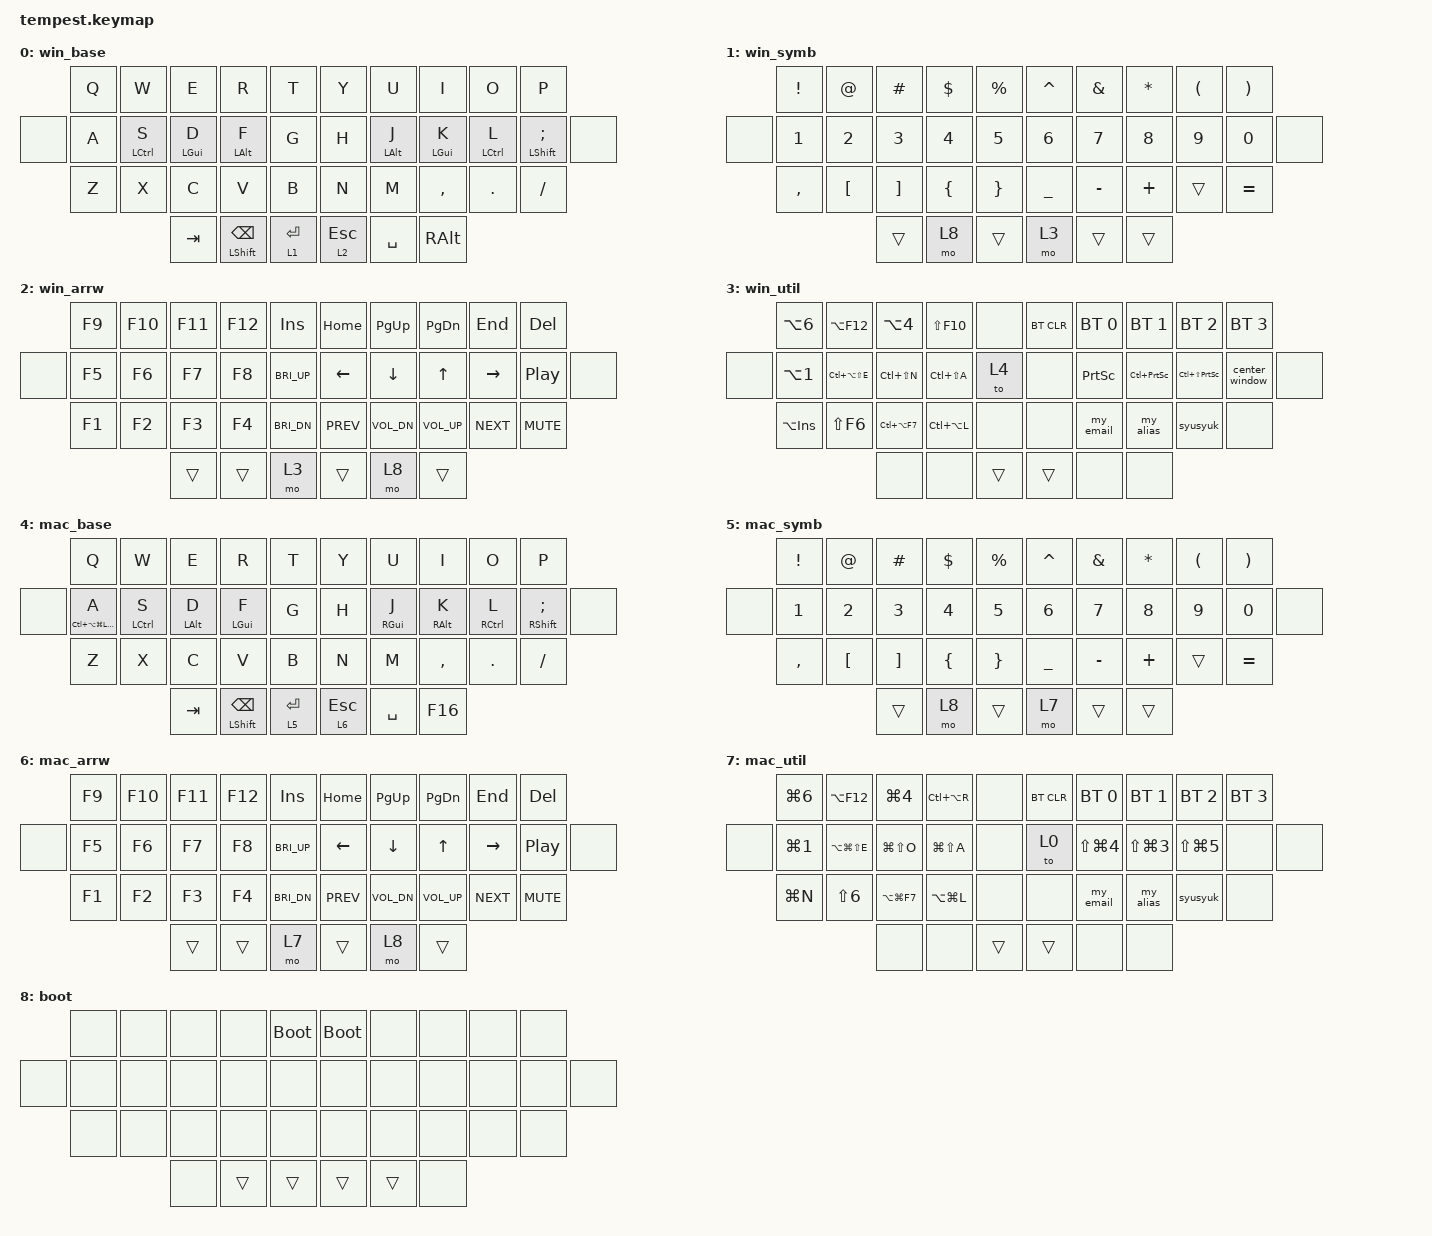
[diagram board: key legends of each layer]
/*
 * Copyright (c) 2020 The ZMK Contributors
 *
 * SPDX-License-Identifier: MIT
 */

#include <behaviors.dtsi>
#include <dt-bindings/zmk/bt.h>
#include <dt-bindings/zmk/keys.h>

&lt {
    tapping-term-ms = <170>;
    quick-tap-ms = <170>;
    flavor = "hold-preferred";
};

&mt {
    tapping-term-ms = <180>;
    quick-tap-ms = <170>;
};

//     0  1  2  3  4    5  6  7  8  9
// 10 11 12 13 14 15   16 17 18 19 20 21 21
//    22 23 24 25 26   27 28 29 30 31 32
//          33 34 35   36 37 38

/ {
    combos {
        compatible = "zmk,combos";

        mac_cut {
            bindings = <&kp LG(X)>;
            key-positions = <23 25>;
            require-prior-idle-ms = <150>;
            layers = <4>;
        };

        mac_copy {
            bindings = <&kp LG(C)>;
            key-positions = <23 24>;
            require-prior-idle-ms = <150>;
            layers = <4>;
        };

        mac_paste {
            bindings = <&kp LG(V)>;
            key-positions = <24 25>;
            require-prior-idle-ms = <150>;
            layers = <4>;
        };

        mac_undo {
            bindings = <&kp LG(Z)>;
            key-positions = <22 23>;
            require-prior-idle-ms = <150>;
            layers = <4>;
        };

        win_cut {
            bindings = <&kp LC(X)>;
            key-positions = <23 25>;
            require-prior-idle-ms = <150>;
            layers = <0>;
        };

        win_copy {
            bindings = <&kp LC(C)>;
            key-positions = <23 24>;
            require-prior-idle-ms = <150>;
            layers = <0>;
        };

        win_paste {
            bindings = <&kp LC(V)>;
            key-positions = <24 25>;
            require-prior-idle-ms = <150>;
            layers = <0>;
        };

        win_undo {
            bindings = <&kp LC(Z)>;
            key-positions = <22 23>;
            require-prior-idle-ms = <150>;
            layers = <0>;
        };

        sqt {
            bindings = <&kp SQT>;
            key-positions = <17 18>;
            require-prior-idle-ms = <150>;
            layers = <4 0>;
        };

        minus {
            bindings = <&kp MINUS>;
            key-positions = <18 19>;
            require-prior-idle-ms = <150>;
            layers = <4 0>;
        };

        grave {
            bindings = <&kp GRAVE>;
            key-positions = <28 29>;
            require-prior-idle-ms = <150>;
            layers = <4 0>;
        };

        bslh {
            bindings = <&kp BSLH>;
            key-positions = <29 30>;
            require-prior-idle-ms = <150>;
            layers = <4 0>;
        };

        lt {
            bindings = <&kp LT>;
            key-positions = <28 29>;
            require-prior-idle-ms = <150>;
            layers = <5 1>;
        };

        gt {
            bindings = <&kp GT>;
            key-positions = <29 30>;
            require-prior-idle-ms = <150>;
            layers = <5 1>;
        };

        youtube_speed_down {
            bindings = <&youtube_speed_down>;
            key-positions = <12 13>;
            require-prior-idle-ms = <150>;
            layers = <4 0>;
        };

        youtube_speed_up {
            bindings = <&youtube_speed_up>;
            key-positions = <13 14>;
            require-prior-idle-ms = <150>;
            layers = <4 0>;
        };

        qw_esc {
            bindings = <&kp ESC>;
            key-positions = <0 1>;
            layers = <0 4>;
            require-prior-idle-ms = <150>;
        };
    };

    macros {
        my_email: my_email {
            compatible = "zmk,behavior-macro";
            #binding-cells = <0>;
            bindings = <&kp B &kp L &kp A &kp C &kp K &kp E &kp A &kp G &kp L &kp E &kp N1 &kp N0 &kp AT &kp I &kp C &kp L &kp O &kp U &kp D &kp DOT &kp C &kp O &kp M>;
        };

        my_alias: my_alias {
            compatible = "zmk,behavior-macro";
            #binding-cells = <0>;
            bindings = <&kp LS(U) &kp N &kp LS(E) &kp M &kp O &kp T &kp I &kp O &kp N &kp E &kp LS(D)>;
        };

        // Change YouTube playback speed after entering input mode of Vimium

        youtube_speed_down: youtube_speed_down {
            compatible = "zmk,behavior-macro";
            #binding-cells = <0>;
            bindings = <&kp I &kp LT &kp LT &kp LT &kp LT &kp ESC>;
        };

        youtube_speed_up: youtube_speed_up {
            compatible = "zmk,behavior-macro";
            #binding-cells = <0>;
            bindings = <&kp I &kp GT &kp GT &kp GT &kp GT &kp ESC>;
        };

        center_window: center_window {
            compatible = "zmk,behavior-macro";
            #binding-cells = <0>;
            bindings = <&kp RSHFT &kp RSHFT &kp RSHFT>;
            label = "CENTER_WINDOW";
        };

        syusyuk: syusyuk {
            compatible = "zmk,behavior-macro";
            #binding-cells = <0>;
            bindings = <&kp T &kp B &kp T &kp B &kp R>;
            label = "SYUSYUK";
        };
    };

    behaviors {
        hrm_l: hrm_l {
            compatible = "zmk,behavior-hold-tap";
            bindings = <&kp>, <&kp>;

            #binding-cells = <2>;
            tapping-term-ms = <180>;
            quick-tap-ms = <170>;
            flavor = "tap-preferred";
            hold-trigger-key-positions = <5 6 7 8 9 12 13 14 16 17 18 19 20 21 27 28 29 30 31 32 33 34 35 36 37>;
        };

        hrm_r: hrm_r {
            compatible = "zmk,behavior-hold-tap";
            bindings = <&kp>, <&kp>;

            #binding-cells = <2>;
            tapping-term-ms = <180>;
            quick-tap-ms = <170>;
            flavor = "tap-preferred";
            hold-trigger-key-positions = <0 1 2 3 4 10 11 12 13 14 15 17 18 19 20 22 23 24 25 26 32 33 34 35 36 37>;
        };
    };

    keymap {
        compatible = "zmk,keymap";

        win_base {
            bindings = <
       &kp Q  &kp W           &kp E          &kp R           &kp T        &kp Y      &kp U          &kp I          &kp O           &kp P
&none  &kp A  &hrm_l LCTRL S  &hrm_l LGUI D  &hrm_l LALT F   &kp G        &kp H      &hrm_r LALT J  &hrm_r LGUI K  &hrm_r LCTRL L  &hrm_r LSHFT SEMI  &none
       &kp Z  &kp X           &kp C          &kp V           &kp B        &kp N      &kp M          &kp COMMA      &kp DOT         &kp FSLH
                              &kp TAB        &mt LSHFT BSPC  &lt 1 ENTER  &lt 2 ESC  &kp SPACE      &kp RALT
            >;
        };

        win_symb {
            bindings = <
       &kp EXCL   &kp AT    &kp HASH  &kp DLLR  &kp PRCNT  &kp CARET  &kp AMPS   &kp ASTRK  &kp LPAR  &kp RPAR
&none  &kp N1     &kp N2    &kp N3    &kp N4    &kp N5     &kp N6     &kp N7     &kp N8     &kp N9    &kp N0     &none
       &kp COMMA  &kp LBKT  &kp RBKT  &kp LBRC  &kp RBRC   &kp UNDER  &kp MINUS  &kp PLUS   &trans    &kp EQUAL
                            &trans    &mo 8     &trans     &mo 3      &trans     &trans
            >;
        };

        win_arrw {
            bindings = <
       &kp F9  &kp F10  &kp F11  &kp F12  &kp INS       &kp HOME    &kp PG_UP     &kp PG_DN        &kp END     &kp DEL
&none  &kp F5  &kp F6   &kp F7   &kp F8   &kp C_BRI_UP  &kp LEFT    &kp DOWN      &kp UP           &kp RIGHT   &kp C_PP    &none
       &kp F1  &kp F2   &kp F3   &kp F4   &kp C_BRI_DN  &kp C_PREV  &kp C_VOL_DN  &kp C_VOLUME_UP  &kp C_NEXT  &kp C_MUTE
                        &trans   &trans   &mo 3         &trans      &mo 8         &trans
            >;
        };

        win_util {
            bindings = <
       &kp LA(N6)   &kp LA(F12)        &kp LA(N4)      &kp LS(F10)    &none   &bt BT_CLR  &bt BT_SEL 0     &bt BT_SEL 1         &bt BT_SEL 2             &bt BT_SEL 3
&none  &kp LA(N1)   &kp LC(LA(LS(E)))  &kp LC(LS(N))   &kp LC(LS(A))  &to 4   &none       &kp PRINTSCREEN  &kp LC(PRINTSCREEN)  &kp LC(LS(PRINTSCREEN))  &center_window  &none
       &kp LA(INS)  &kp LS(F6)         &kp LC(LA(F7))  &kp LC(LA(L))  &none   &none       &my_email        &my_alias            &syusyuk                 &none
                                       &none           &none          &trans  &trans      &none            &none
            >;
        };

        mac_base {
            bindings = <
       &kp Q                       &kp W           &kp E          &kp R           &kp T        &kp Y      &kp U          &kp I          &kp O           &kp P
&none  &hrm_l LC(LA(LG(LSHFT))) A  &hrm_l LCTRL S  &hrm_l LALT D  &hrm_l LGUI F   &kp G        &kp H      &hrm_r RGUI J  &hrm_r RALT K  &hrm_r RCTRL L  &hrm_r RSHFT SEMI  &none
       &kp Z                       &kp X           &kp C          &kp V           &kp B        &kp N      &kp M          &kp COMMA      &kp DOT         &kp FSLH
                                                   &kp TAB        &mt LSHFT BSPC  &lt 5 ENTER  &lt 6 ESC  &kp SPACE      &kp F16
            >;
        };

        mac_symb {
            bindings = <
       &kp EXCL   &kp AT    &kp HASH  &kp DLLR  &kp PRCNT  &kp CARET  &kp AMPS   &kp ASTRK  &kp LPAR  &kp RPAR
&none  &kp N1     &kp N2    &kp N3    &kp N4    &kp N5     &kp N6     &kp N7     &kp N8     &kp N9    &kp N0     &none
       &kp COMMA  &kp LBKT  &kp RBKT  &kp LBRC  &kp RBRC   &kp UNDER  &kp MINUS  &kp PLUS   &trans    &kp EQUAL
                            &trans    &mo 8     &trans     &mo 7      &trans     &trans
            >;
        };

        mac_arrw {
            bindings = <
       &kp F9  &kp F10  &kp F11  &kp F12  &kp INS       &kp HOME    &kp PG_UP     &kp PG_DN        &kp END     &kp DEL
&none  &kp F5  &kp F6   &kp F7   &kp F8   &kp C_BRI_UP  &kp LEFT    &kp DOWN      &kp UP           &kp RIGHT   &kp C_PP    &none
       &kp F1  &kp F2   &kp F3   &kp F4   &kp C_BRI_DN  &kp C_PREV  &kp C_VOL_DN  &kp C_VOLUME_UP  &kp C_NEXT  &kp C_MUTE
                        &trans   &trans   &mo 7         &trans      &mo 8         &trans
            >;
        };

        mac_util {
            bindings = <
       &kp LG(N6)  &kp LA(F12)        &kp LG(N4)      &kp LC(LA(R))  &none   &bt BT_CLR  &bt BT_SEL 0    &bt BT_SEL 1    &bt BT_SEL 2    &bt BT_SEL 3
&none  &kp LG(N1)  &kp LA(LG(LS(E)))  &kp LG(LS(O))   &kp LG(LS(A))  &none   &to 0       &kp LS(LG(N4))  &kp LS(LG(N3))  &kp LS(LG(N5))  &none         &none
       &kp LG(N)   &kp LS(N6)         &kp LA(LG(F7))  &kp LA(LG(L))  &none   &none       &my_email       &my_alias       &syusyuk        &none
                                      &none           &none          &trans  &trans      &none           &none
            >;
        };

        boot {
            bindings = <
       &none  &none  &none  &none   &bootloader  &bootloader  &none   &none  &none  &none
&none  &none  &none  &none  &none   &none        &none        &none   &none  &none  &none  &none
       &none  &none  &none  &none   &none        &none        &none   &none  &none  &none
                     &none  &trans  &trans       &trans       &trans  &none
            >;
        };
    };
};
